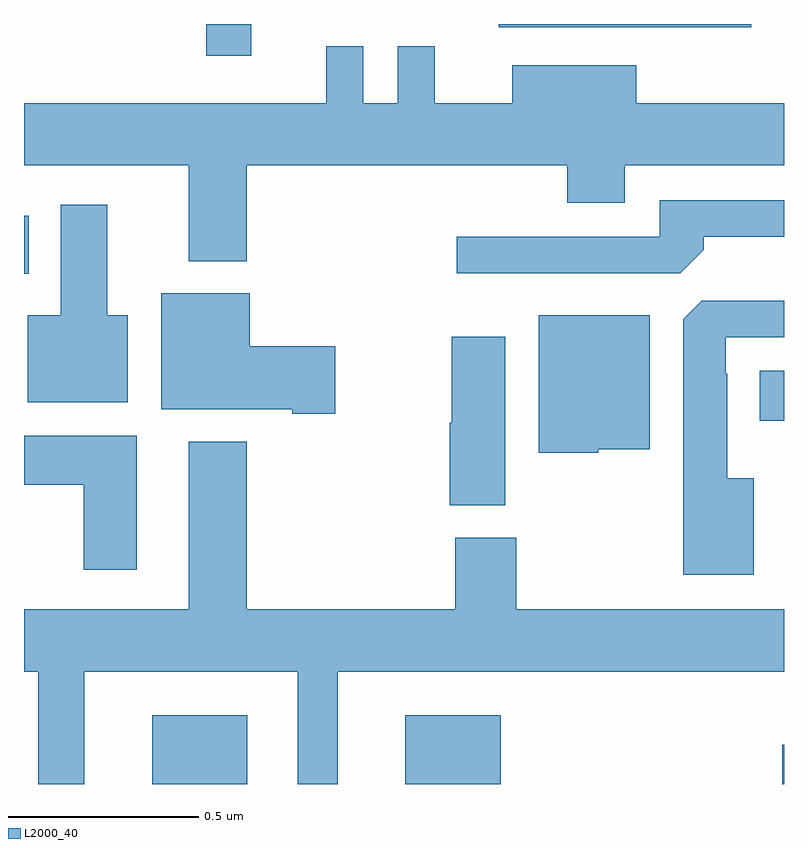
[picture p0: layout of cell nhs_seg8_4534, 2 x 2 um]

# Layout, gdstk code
import gdstk
lib = gdstk.Library(unit=1e-6, precision=1e-09)
def R(c, l, rs):  # rectangles x0, y0, x1, y1
    for r in rs: c.add(gdstk.rectangle(r[:2], r[2:], *l))
def P(c, l, *ps):  # polygons
    for p in ps: c.add(gdstk.Polygon(p, *l))
L2000_40 = (2000, 40)

nhs_seg8_4534 = lib.new_cell('nhs_seg8_4534')
R(nhs_seg8_4534, L2000_40, [(172.337,1086.9,172.588,1087.081), (173.003,1086.9,173.254,1087.081), (173.995,1086.9,174,1087.003), (173.936,1087.856,174,1087.987), (172,1088.243,172.012,1088.395), (172.48,1088.817,172.598,1088.9), (173.249,1088.891,173.914,1088.9)])
P(nhs_seg8_4534, L2000_40, [(172.586,1088.528),(173.429,1088.528),(173.429,1088.429),(173.581,1088.429),(173.581,1088.528),(174,1088.528),(174,1088.692),(173.611,1088.692),(173.611,1088.791),(173.285,1088.791),(173.285,1088.692),(173.081,1088.692),(173.081,1088.842),(172.983,1088.842),(172.983,1088.692),(172.893,1088.692),(172.893,1088.842),(172.796,1088.842),(172.796,1088.692),(172,1088.692),(172,1088.528),(172.433,1088.528),(172.433,1088.276),(172.586,1088.276)],
  [(173.789,1088.306),(173.789,1088.34),(174,1088.34),(174,1088.436),(173.673,1088.436),(173.673,1088.34),(173.139,1088.34),(173.139,1088.244),(173.727,1088.244)],
  [(172.273,1088.134),(172.219,1088.134),(172.219,1088.425),(172.097,1088.425),(172.097,1088.134),(172.01,1088.134),(172.01,1087.904),(172.273,1087.904)],
  [(172.819,1088.052),(172.594,1088.052),(172.594,1088.191),(172.361,1088.191),(172.361,1087.886),(172.706,1087.886),(172.706,1087.874),(172.819,1087.874)],
  [(173.92,1087.705),(173.851,1087.705),(173.851,1087.979),(173.847,1087.979),(173.847,1088.076),(174,1088.076),(174,1088.172),(173.784,1088.172),(173.735,1088.123),(173.735,1087.451),(173.92,1087.451)],
  [(173.511,1087.781),(173.647,1087.781),(173.647,1088.134),(173.354,1088.134),(173.354,1087.772),(173.511,1087.772)],
  [(173.266,1088.077),(173.125,1088.077),(173.125,1087.851),(173.12,1087.851),(173.12,1087.633),(173.266,1087.633)],
  [(172.297,1087.816),(172,1087.816),(172,1087.688),(172.157,1087.688),(172.157,1087.464),(172.297,1087.464)],
  [(172.159,1087.196),(172.721,1087.196),(172.721,1086.9),(172.825,1086.9),(172.825,1087.196),(174,1087.196),(174,1087.36),(173.295,1087.36),(173.295,1087.548),(173.135,1087.548),(173.135,1087.36),(172.586,1087.36),(172.586,1087.801),(172.433,1087.801),(172.433,1087.36),(172,1087.36),(172,1087.196),(172.038,1087.196),(172.038,1086.9),(172.159,1086.9)])

lib.write_gds('nhs_seg8_4534.gds')
